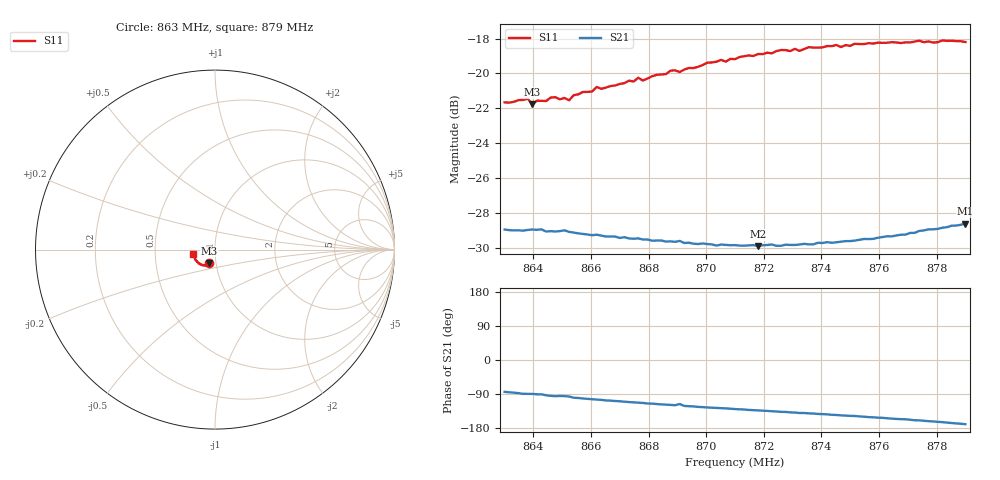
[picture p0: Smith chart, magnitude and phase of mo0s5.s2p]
# HZ S RI R 50
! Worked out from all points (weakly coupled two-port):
!   101 points, 863 MHz to 879 MHz, reference 50 ohm
!   highest |S21| = -28.62 dB at 879 MHz (marker M1); lowest = -29.9 dB at 871.8 MHz (marker M2)
!   lowest |S11| = -21.8 dB at 863.96 MHz (marker M3), VSWR 1.18, Z = 46.4 - j6.98 ohm
!   |S11| at or under -10 dB: start of sweep to end of sweep
!   S12 and S22 are empty: the file has one direction only
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8.63e8  -0.0356 -0.0745  0.00371 -0.0355  0 0  0 0
8.638e8  -0.037 -0.0762  0.000404 -0.0355  0 0  0 0
8.6396e8  -0.0324 -0.0748  0.000363 -0.0357  0 0  0 0
8.646e8  -0.0364 -0.0771  -0.00283 -0.0352  0 0  0 0
8.6524e8  -0.0282 -0.0789  -0.00389 -0.0349  0 0  0 0
8.654e8  -0.036 -0.0788  -0.00578 -0.0345  0 0  0 0
8.6572e8  -0.0368 -0.0805  -0.00691 -0.0339  0 0  0 0
8.6604e8  -0.0377 -0.0804  -0.00806 -0.0334  0 0  0 0
8.662e8  -0.0399 -0.0823  -0.00856 -0.0334  0 0  0 0
8.6636e8  -0.0392 -0.0814  -0.00905 -0.033  0 0  0 0
8.6748e8  -0.0432 -0.0844  -0.0125 -0.0311  0 0  0 0
8.6764e8  -0.0467 -0.0853  -0.0129 -0.031  0 0  0 0
8.678e8  -0.0457 -0.0838  -0.0132 -0.0307  0 0  0 0
8.6844e8  -0.0492 -0.0864  -0.0151 -0.0295  0 0  0 0
8.6876e8  -0.052 -0.0876  -0.0157 -0.029  0 0  0 0
8.6908e8  -0.0499 -0.0877  -0.0146 -0.0297  0 0  0 0
8.7004e8  -0.0615 -0.0881  -0.0187 -0.0264  0 0  0 0
8.71e8  -0.0694 -0.0853  -0.0204 -0.0248  0 0  0 0
8.718e8  -0.077 -0.0837  -0.0218 -0.0234  0 0  0 0
8.7372e8  -0.0926 -0.0742  -0.0252 -0.0202  0 0  0 0
8.7644e8  -0.1119 -0.051  -0.0308 -0.0146  0 0  0 0
8.79e8  -0.121 -0.0222  -0.0364 -0.00681  0 0  0 0
